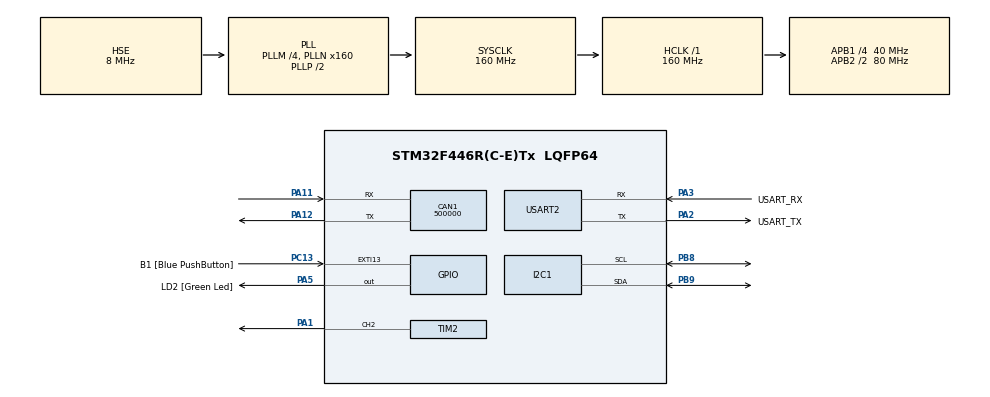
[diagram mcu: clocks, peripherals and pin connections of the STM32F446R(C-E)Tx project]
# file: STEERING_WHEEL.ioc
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CAN1.BS1=CAN_BS1_3TQ
CAN1.CalculateBaudRate=500000
CAN1.CalculateTimeBit=2000
CAN1.CalculateTimeQuantum=400.0
Mcu.Family=STM32F4
Mcu.Name=STM32F446R(C-E)Tx
Mcu.Package=LQFP64
NVIC.CAN1_RX0_IRQn=true\:0\:0\:false\:false\:true\:true\:true\:true
NVIC.CAN1_RX1_IRQn=true\:0\:0\:false\:false\:true\:true\:true\:true
NVIC.PriorityGroup=NVIC_PRIORITYGROUP_0
NVIC.TIM8_TRG_COM_TIM14_IRQn=true\:0\:0\:false\:false\:true\:true\:true\:true
NVIC.TIM8_UP_TIM13_IRQn=true\:0\:0\:false\:false\:true\:true\:true\:true
NVIC.USART2_IRQn=true\:0\:0\:false\:false\:true\:true\:true\:true
PA1.Signal=S_TIM2_CH2
PA11.Mode=CAN_Activate
PA11.Signal=CAN1_RX
PA12.Mode=CAN_Activate
PA12.Signal=CAN1_TX
PA13.GPIO_Label=TMS
PA13.Mode=Serial_Wire
PA13.Signal=SYS_JTMS-SWDIO
PA14.GPIO_Label=TCK
PA14.Mode=Serial_Wire
PA14.Signal=SYS_JTCK-SWCLK
PA2.GPIO_Label=USART_TX
PA2.Mode=Asynchronous
PA2.Signal=USART2_TX
PA3.GPIO_Label=USART_RX
PA3.Mode=Asynchronous
PA3.Signal=USART2_RX
PA5.GPIO_Label=LD2 [Green Led]
PA5.Signal=GPIO_Output
PB3.GPIO_Label=SWO
PB3.Signal=SYS_JTDO-SWO
PB8.Mode=I2C
PB8.Signal=I2C1_SCL
PB9.Mode=I2C
PB9.Signal=I2C1_SDA
PC13.GPIO_Label=B1 [Blue PushButton]
PC13.GPIO_ModeDefaultEXTI=GPIO_MODE_IT_FALLING
PC13.Signal=GPXTI13
PC14-OSC32_IN.Mode=LSE-External-Oscillator
PC14-OSC32_IN.Signal=RCC_OSC32_IN
PC15-OSC32_OUT.Mode=LSE-External-Oscillator
PC15-OSC32_OUT.Signal=RCC_OSC32_OUT
PH0-OSC_IN.Mode=HSE-External-Oscillator
PH0-OSC_IN.Signal=RCC_OSC_IN
PH1-OSC_OUT.Mode=HSE-External-Oscillator
PH1-OSC_OUT.Signal=RCC_OSC_OUT
ProjectManager.HeapSize=0x200
ProjectManager.StackSize=0x400
ProjectManager.TargetToolchain=STM32CubeIDE
RCC.48MHZClocksFreq_Value=84000000
RCC.AHBFreq_Value=160000000
RCC.APB1CLKDivider=RCC_HCLK_DIV4
RCC.APB1Freq_Value=40000000
RCC.APB1TimFreq_Value=80000000
RCC.APB2CLKDivider=RCC_HCLK_DIV2
RCC.APB2Freq_Value=80000000
RCC.APB2TimFreq_Value=160000000
RCC.CortexFreq_Value=160000000
RCC.FLatency-AdvancedSettings=FLASH_LATENCY_5
RCC.HCLKFreq_Value=160000000
RCC.HSE_VALUE=8000000
RCC.HSI_VALUE=16000000
RCC.PLLM=4
RCC.PLLN=160
RCC.PLLSourceVirtual=RCC_PLLSOURCE_HSE
RCC.SYSCLKFreq_VALUE=160000000
RCC.SYSCLKSource=RCC_SYSCLKSOURCE_PLLCLK
RCC.USBFreq_Value=160000000
RCC.VCOOutputFreq_Value=320000000
SH.S_TIM2_CH2.0=TIM2_CH2,PWM Generation2 CH2
TIM13.Period=10000-1
TIM13.Prescaler=8000-1
TIM14.AutoReloadPreload=TIM_AUTORELOAD_PRELOAD_DISABLE
TIM14.Period=15000-1
TIM14.Prescaler=8000-1
TIM2.AutoReloadPreload=TIM_AUTORELOAD_PRELOAD_DISABLE
TIM2.Channel-PWM\ Generation2\ CH2=TIM_CHANNEL_2
TIM2.Period=100-1
TIM2.Prescaler=160-1
TIM2.Pulse-PWM\ Generation2\ CH2=100
USART2.VirtualMode=VM_ASYNC
VP_TIM13_VS_ClockSourceINT.Mode=Enable_Timer
VP_TIM14_VS_ClockSourceINT.Mode=Enable_Timer
VP_TIM2_VS_ClockSourceINT.Mode=Internal
board=NUCLEO-F446RE

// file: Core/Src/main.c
/* USER CODE BEGIN Header */
/**
  ******************************************************************************
  * @file           : main.c
  * @brief          : Main program body
  ******************************************************************************
  * @attention
  *
  * Copyright (c) 2023 STMicroelectronics.
  * All rights reserved.
  *
  * This software is licensed under terms that can be found in the LICENSE file
  * in the root directory of this software component.
  * If no LICENSE file comes with this software, it is provided AS-IS.
  *
  ******************************************************************************
  */
/* USER CODE END Header */
#include "main.h"

/* USER CODE BEGIN Includes */
#include "stdio.h"
#include "stdbool.h"
#include <stdbool.h>
#include <stdlib.h>
#include "FEB_CAN.h"

/* USER CODE END Includes */

CAN_HandleTypeDef hcan1;

I2C_HandleTypeDef hi2c1;

TIM_HandleTypeDef htim2;
TIM_HandleTypeDef htim13;
TIM_HandleTypeDef htim14;

UART_HandleTypeDef huart2;

/* USER CODE BEGIN PV */

const uint8_t TPS_ADDR = 0b1000000 << 1;
// configuration register value
uint8_t CONFIG[2] = {0b01000001, 0b00100111}; // default settings
/*
 * Values needed to calibrate each of the TPS chips. This value gets passed
 * into the init function called in later
 */

// calibration register values
uint8_t MAIN_CAL[2] = {0b00000110, 0b10001110}; // Imax = 50A (change?)
// alert types
uint8_t UNDERV[2] = {0b00010000, 0b00000000};
uint8_t OVERPWR[2] = {0b00001000, 0b00000000};
// limits
uint8_t TPS_LIMIT[2] = {0b00000000, 0b00010110}; // = 22 (change?)
float current_reading;
float voltage_reading;

/* USER CODE END PV */

void SystemClock_Config(void);
static void MX_GPIO_Init(void);
static void MX_USART2_UART_Init(void);
static void MX_I2C1_Init(void);
static void MX_TIM14_Init(void);
static void MX_TIM2_Init(void);
static void MX_CAN1_Init(void);
static void MX_TIM13_Init(void);

/* USER CODE BEGIN 0 */
//static const uint8_t IOEXP1_ADDR = 0b0100000 << 1; // Use 8-bit address
static const uint8_t IOEXP2_ADDR = 0b0100001 << 1;
static const uint8_t VOLUME = 100; // volume of the buzzer (10%)
static bool Button_Checking = false;
static bool Button_Timer_Flag = false;

/* USER CODE END 0 */

int main(void)
{

  /* MCU Configuration--------------------------------------------------------*/

  /* Reset of all peripherals, Initializes the Flash interface and the Systick. */
  HAL_Init();

  /* Configure the system clock */
  SystemClock_Config();

  /* Initialize all configured peripherals */
  MX_GPIO_Init();
  MX_USART2_UART_Init();
  MX_I2C1_Init();
  MX_TIM14_Init();
  MX_TIM2_Init();
  MX_CAN1_Init();
  MX_TIM13_Init();
  /* USER CODE BEGIN 2 */

  bool ready_to_drive = false;
  bool last_button_state = false;
  bool lock = false;

  bool lastButton_4 = 0; // coolant pump
  bool lastButton_5 = 0; // acumulator fans
  bool lastButton_6 = 0; // extra
  bool lock_4 = 0;
  bool lock_5 = 0;
  bool lock_6 = 0;
  bool coolant_pump = 0;
  bool accumulator_fans = 0;
  bool extra = 0;

  char buf[128];
  int buf_len;
  //uint8_t data1;
  uint8_t data2;
  HAL_StatusTypeDef ret;

  HAL_TIM_Base_Start_IT(&htim13);
  HAL_TIM_Base_Stop_IT(&htim13);
  HAL_TIM_Base_Start_IT(&htim14);
  HAL_TIM_Base_Stop_IT(&htim14);
  Button_Checking = false;
  Button_Timer_Flag = false;
  // 0% PWM cycle to turnoff buzzer
  htim2.Instance->CCR2 = 0;
  HAL_TIM_PWM_Start(&htim2, TIM_CHANNEL_2);

  FEB_CAN_Init(&hcan1, SW_ID);

  /* USER CODE END 2 */

  /* Infinite loop */
  /* USER CODE BEGIN WHILE */
  while (1)
  {
	  HAL_Delay(10);

	  // read both IOexpanders
//	  ret = HAL_I2C_Master_Receive(&hi2c1, IOEXP1_ADDR, &data1, 1, HAL_MAX_DELAY);
//	  if ( ret != HAL_OK ) {
//		  buf_len = sprintf((char*)buf, "IO_1 Error\r\n");
//	  }
	  ret = HAL_I2C_Master_Receive(&hi2c1, IOEXP2_ADDR, &data2, 1, HAL_MAX_DELAY);
	  if ( ret != HAL_OK ) {
		  buf_len = sprintf((char*)buf, "IO_2 Error\r\n");
	  }

	  // check the read values
//	  if (data1 == 0xFF && data2 == 0xFF) {
//		  buf_len = sprintf((char*)buf, "NO BUT\r\n");
//	  }
//	  if (!(data1 & (1<<1))) { // BUT_0 -> IO1 P1
//		  buf_len = sprintf((char*)buf, "BUT_0\r\n");
//	  }
//	  if (!(data1 & (1<<0))) { // BUT_1 -> IO1 P0
//		  buf_len = sprintf((char*)buf, "BUT_1\r\n");
//	  }
//	  if (!(data2 & (1<<7))) { // BUT_2 -> IO2 P7
//		  buf_len = sprintf((char*)buf, "BUT_2\r\n");
//	  }
//	  if (!(data2 & (1<<0))) { // BUT_3 -> IO2 P0
//		  buf_len = sprintf((char*)buf, "BUT_3\r\n");
//		  // Start timer
//		  HAL_TIM_Base_Start_IT(&htim14);
//		  // turn on buzzer with 30% PWM cycle
//		  htim2.Instance->CCR2 = VOLUME;
//	  }

	  if (!(data2 & (1<<1))) { // BUT_4 -> IO2 P1, coolant pump
		  if (!lastButton_4) {
			  lock_4 = true;
			  coolant_pump = !coolant_pump;
			  FEB_CAN_Transmit(&hcan1, SW_COOLANT_PUMP, (uint8_t *) &coolant_pump, 1);
		  }
		  lastButton_4 = true;
	  } else {
		  if (lastButton_4) {
			  lock_4 = false;
		  }
		  lastButton_4 = false;
	  }

	  if (!(data2 & (1<<2))) { // BUT_5 -> IO2 P2, accumulator fans
		  if (!lastButton_5) {
			  lock_5 = true;
			  accumulator_fans = !accumulator_fans;
			  FEB_CAN_Transmit(&hcan1, SW_ACUMULATOR_FANS, (uint8_t *) &accumulator_fans, 1);
		  }
		  lastButton_5 = true;
	  } else {
		  if (lastButton_5) {
			  lock_5 = false;
		  }
		  lastButton_5 = false;
	  }

	  if (!(data2 & (1<<3))) { // BUT_6 -> IO2 P3, extra
		  if (!lastButton_6) {
			  lock_6 = true;
			  extra = !extra;
			  FEB_CAN_Transmit(&hcan1, SW_EXTRA, (uint8_t *) &extra, 1);
		  }
		  lastButton_6 = true;
	  } else {
		  if (lastButton_6) {
			  lock_6 = false;
		  }
		  lastButton_6 = false;
	  }

	  if (!(data2 & (1<<0))) { // BUT_3 -> IO2 P0, ready to drive
//		  buf_len = sprintf((char*)buf, "BUT_3\r\n");
//		  HAL_UART_Transmit(&huart2, (uint8_t *)buf, buf_len, HAL_MAX_DELAY);

		  // if the system is not checking a button, start the timer to check the timer
		  // also check if brake is pressed and Tractive System is on
		  if (!Button_Checking && (last_button_state == false) && !lock && APPS_MESSAGE.brake_pedal > 0.2 && HV_Voltage > 60.0) {
			  // Start timer to count 1 sec hold time
			  HAL_TIM_Base_Start_IT(&htim13);
			  Button_Checking = true;

//			  buf_len = sprintf((char*)buf, "starting timer 13\r\n");
//			  HAL_UART_Transmit(&huart2, (uint8_t *)buf, buf_len, HAL_MAX_DELAY);
		  }
		  // if 1 sec has elapsed, and this button is still pressed, it is a valid action
		  // turn on buzzer and send CAN msg, reset states
		  if (Button_Timer_Flag) {
			  ready_to_drive = !ready_to_drive;

			  // when the ready_to_drive state is just changed, lock from changing again
			  lock = true;

			  // start timer for buzzer
			  HAL_TIM_Base_Start_IT(&htim14);
			  // turn on buzzer at VOLUME
			  htim2.Instance->CCR2 = VOLUME;

			  FEB_CAN_Transmit(&hcan1, SW_READY_TO_DRIVE, (uint8_t *) &ready_to_drive, 1);

			  Button_Timer_Flag = false;

//			  buf_len = sprintf((char*)buf, "staring timer 14\r\n");
//			  HAL_UART_Transmit(&huart2, (uint8_t *)buf, buf_len, HAL_MAX_DELAY);
		  }

		  //record button state
		  last_button_state = true;

	  } else {
		  Button_Timer_Flag = false;

		  // allow ready_to_drive to change when button is released.
		  if (last_button_state) {
			  last_button_state = false;
			  lock = false;
		  }
	  }

	  // if at sometime Tractive System falls below 60V (not enough battery or E-Stop), disable ready_to_drive
	  if (HV_Voltage < 60.0 && ready_to_drive) {
		  ready_to_drive = false;
		  FEB_CAN_Transmit(&hcan1, SW_READY_TO_DRIVE, (uint8_t *) &ready_to_drive, 1);
	  }

	  // Take and send TPS reading
	  current_reading = FEB_TPS2482_PollBusCurrent(&hi2c1,TPS_ADDR+1);
	  //voltage_reading = FEB_TPS2482_PollBusVoltage(&hi2c1, TPS_ADDR+1);
	  FEB_CAN_Transmit(&hcan1,SW_TPS,&current_reading,sizeof(float));

//	  buf_len = sprintf((char*)buf, "check:%d flag:%d\r\n", Button_Checking, Button_Timer_Flag);
//	  HAL_UART_Transmit(&huart2, (uint8_t *)buf, buf_len, HAL_MAX_DELAY);
	  buf_len = sprintf((char*)buf, "ready:%d voltage:%.1f brake:%.1f current: %.3f\r\n", ready_to_drive, HV_Voltage, APPS_MESSAGE.brake_pedal, current_reading);
	  HAL_UART_Transmit(&huart2, (uint8_t *)buf, buf_len, 1000);

    /* USER CODE END WHILE */

  }
}

void SystemClock_Config(void)
{
  RCC_OscInitTypeDef RCC_OscInitStruct = {0};
  RCC_ClkInitTypeDef RCC_ClkInitStruct = {0};

  /** Configure the main internal regulator output voltage
  */
  __HAL_RCC_PWR_CLK_ENABLE();
  __HAL_PWR_VOLTAGESCALING_CONFIG(PWR_REGULATOR_VOLTAGE_SCALE1);

  /** Initializes the RCC Oscillators according to the specified parameters
  * in the RCC_OscInitTypeDef structure.
  */
  RCC_OscInitStruct.OscillatorType = RCC_OSCILLATORTYPE_HSE;
  RCC_OscInitStruct.HSEState = RCC_HSE_ON;
  RCC_OscInitStruct.PLL.PLLState = RCC_PLL_ON;
  RCC_OscInitStruct.PLL.PLLSource = RCC_PLLSOURCE_HSE;
  RCC_OscInitStruct.PLL.PLLM = 4;
  RCC_OscInitStruct.PLL.PLLN = 160;
  RCC_OscInitStruct.PLL.PLLP = RCC_PLLP_DIV2;
  RCC_OscInitStruct.PLL.PLLQ = 2;
  RCC_OscInitStruct.PLL.PLLR = 2;
  if (HAL_RCC_OscConfig(&RCC_OscInitStruct) != HAL_OK)
  {
    Error_Handler();
  }

  /** Initializes the CPU, AHB and APB buses clocks
  */
  RCC_ClkInitStruct.ClockType = RCC_CLOCKTYPE_HCLK|RCC_CLOCKTYPE_SYSCLK
                              |RCC_CLOCKTYPE_PCLK1|RCC_CLOCKTYPE_PCLK2;
  RCC_ClkInitStruct.SYSCLKSource = RCC_SYSCLKSOURCE_PLLCLK;
  RCC_ClkInitStruct.AHBCLKDivider = RCC_SYSCLK_DIV1;
  RCC_ClkInitStruct.APB1CLKDivider = RCC_HCLK_DIV4;
  RCC_ClkInitStruct.APB2CLKDivider = RCC_HCLK_DIV2;

  if (HAL_RCC_ClockConfig(&RCC_ClkInitStruct, FLASH_LATENCY_5) != HAL_OK)
  {
    Error_Handler();
  }
}

static void MX_CAN1_Init(void)
{

  hcan1.Instance = CAN1;
  hcan1.Init.Prescaler = 16;
  hcan1.Init.Mode = CAN_MODE_NORMAL;
  hcan1.Init.SyncJumpWidth = CAN_SJW_1TQ;
  hcan1.Init.TimeSeg1 = CAN_BS1_3TQ;
  hcan1.Init.TimeSeg2 = CAN_BS2_1TQ;
  hcan1.Init.TimeTriggeredMode = DISABLE;
  hcan1.Init.AutoBusOff = DISABLE;
  hcan1.Init.AutoWakeUp = DISABLE;
  hcan1.Init.AutoRetransmission = DISABLE;
  hcan1.Init.ReceiveFifoLocked = DISABLE;
  hcan1.Init.TransmitFifoPriority = DISABLE;
  if (HAL_CAN_Init(&hcan1) != HAL_OK)
  {
    Error_Handler();
  }

}

static void MX_I2C1_Init(void)
{

  hi2c1.Instance = I2C1;
  hi2c1.Init.ClockSpeed = 100000;
  hi2c1.Init.DutyCycle = I2C_DUTYCYCLE_2;
  hi2c1.Init.OwnAddress1 = 0;
  hi2c1.Init.AddressingMode = I2C_ADDRESSINGMODE_7BIT;
  hi2c1.Init.DualAddressMode = I2C_DUALADDRESS_DISABLE;
  hi2c1.Init.OwnAddress2 = 0;
  hi2c1.Init.GeneralCallMode = I2C_GENERALCALL_DISABLE;
  hi2c1.Init.NoStretchMode = I2C_NOSTRETCH_DISABLE;
  if (HAL_I2C_Init(&hi2c1) != HAL_OK)
  {
    Error_Handler();
  }

}

static void MX_TIM2_Init(void)
{

  TIM_ClockConfigTypeDef sClockSourceConfig = {0};
  TIM_MasterConfigTypeDef sMasterConfig = {0};
  TIM_OC_InitTypeDef sConfigOC = {0};

  htim2.Instance = TIM2;
  htim2.Init.Prescaler = 160-1;
  htim2.Init.CounterMode = TIM_COUNTERMODE_UP;
  htim2.Init.Period = 100-1;
  htim2.Init.ClockDivision = TIM_CLOCKDIVISION_DIV1;
  htim2.Init.AutoReloadPreload = TIM_AUTORELOAD_PRELOAD_DISABLE;
  if (HAL_TIM_Base_Init(&htim2) != HAL_OK)
  {
    Error_Handler();
  }
  sClockSourceConfig.ClockSource = TIM_CLOCKSOURCE_INTERNAL;
  if (HAL_TIM_ConfigClockSource(&htim2, &sClockSourceConfig) != HAL_OK)
  {
    Error_Handler();
  }
  if (HAL_TIM_PWM_Init(&htim2) != HAL_OK)
  {
    Error_Handler();
  }
  sMasterConfig.MasterOutputTrigger = TIM_TRGO_RESET;
  sMasterConfig.MasterSlaveMode = TIM_MASTERSLAVEMODE_DISABLE;
  if (HAL_TIMEx_MasterConfigSynchronization(&htim2, &sMasterConfig) != HAL_OK)
  {
    Error_Handler();
  }
  sConfigOC.OCMode = TIM_OCMODE_PWM1;
  sConfigOC.Pulse = 100;
  sConfigOC.OCPolarity = TIM_OCPOLARITY_HIGH;
  sConfigOC.OCFastMode = TIM_OCFAST_DISABLE;
  if (HAL_TIM_PWM_ConfigChannel(&htim2, &sConfigOC, TIM_CHANNEL_2) != HAL_OK)
  {
    Error_Handler();
  }
  HAL_TIM_MspPostInit(&htim2);

}

static void MX_TIM13_Init(void)
{

  htim13.Instance = TIM13;
  htim13.Init.Prescaler = 8000-1;
  htim13.Init.CounterMode = TIM_COUNTERMODE_UP;
  htim13.Init.Period = 10000-1;
  htim13.Init.ClockDivision = TIM_CLOCKDIVISION_DIV1;
  htim13.Init.AutoReloadPreload = TIM_AUTORELOAD_PRELOAD_DISABLE;
  if (HAL_TIM_Base_Init(&htim13) != HAL_OK)
  {
    Error_Handler();
  }

}

static void MX_TIM14_Init(void)
{

  htim14.Instance = TIM14;
  htim14.Init.Prescaler = 8000-1;
  htim14.Init.CounterMode = TIM_COUNTERMODE_UP;
  htim14.Init.Period = 15000-1;
  htim14.Init.ClockDivision = TIM_CLOCKDIVISION_DIV1;
  htim14.Init.AutoReloadPreload = TIM_AUTORELOAD_PRELOAD_DISABLE;
  if (HAL_TIM_Base_Init(&htim14) != HAL_OK)
  {
    Error_Handler();
  }

}

static void MX_USART2_UART_Init(void)
{

  huart2.Instance = USART2;
  huart2.Init.BaudRate = 115200;
  huart2.Init.WordLength = UART_WORDLENGTH_8B;
  huart2.Init.StopBits = UART_STOPBITS_1;
  huart2.Init.Parity = UART_PARITY_NONE;
  huart2.Init.Mode = UART_MODE_TX_RX;
  huart2.Init.HwFlowCtl = UART_HWCONTROL_NONE;
  huart2.Init.OverSampling = UART_OVERSAMPLING_16;
  if (HAL_UART_Init(&huart2) != HAL_OK)
  {
    Error_Handler();
  }

}

static void MX_GPIO_Init(void)
{
  GPIO_InitTypeDef GPIO_InitStruct = {0};

  /* GPIO Ports Clock Enable */
  __HAL_RCC_GPIOC_CLK_ENABLE();
  __HAL_RCC_GPIOH_CLK_ENABLE();
  __HAL_RCC_GPIOA_CLK_ENABLE();
  __HAL_RCC_GPIOB_CLK_ENABLE();

  /*Configure GPIO pin Output Level */
  HAL_GPIO_WritePin(LD2_GPIO_Port, LD2_Pin, GPIO_PIN_RESET);

  /*Configure GPIO pin : B1_Pin */
  GPIO_InitStruct.Pin = B1_Pin;
  GPIO_InitStruct.Mode = GPIO_MODE_IT_FALLING;
  GPIO_InitStruct.Pull = GPIO_NOPULL;
  HAL_GPIO_Init(B1_GPIO_Port, &GPIO_InitStruct);

  /*Configure GPIO pin : LD2_Pin */
  GPIO_InitStruct.Pin = LD2_Pin;
  GPIO_InitStruct.Mode = GPIO_MODE_OUTPUT_PP;
  GPIO_InitStruct.Pull = GPIO_NOPULL;
  GPIO_InitStruct.Speed = GPIO_SPEED_FREQ_LOW;
  HAL_GPIO_Init(LD2_GPIO_Port, &GPIO_InitStruct);

}

/* USER CODE BEGIN 4 */
// Callback: timer has rolled over
void HAL_TIM_PeriodElapsedCallback(TIM_HandleTypeDef *htim)
{
//	char buf[10];
//	int buf_len;

	// timer for button
	// if 1 sec has passed since the first detection of button pressed, go back to not checking state
	if (htim == &htim13) {
	  Button_Checking = false;
	  Button_Timer_Flag = true;
	  HAL_TIM_Base_Stop_IT(&htim13);

//	  buf_len = sprintf((char*)buf, "Timer13\r\n");
//	  HAL_UART_Transmit(&huart2, (uint8_t *)buf, buf_len, HAL_MAX_DELAY);
	}

	// timer for buzzer
	if (htim == &htim14)
	{
	  // turn off buzzer
	  htim2.Instance->CCR2 = 0;
	  // Stop timer
	  HAL_TIM_Base_Stop_IT(&htim14);

//	  buf_len = sprintf((char*)buf, "Timer14\r\n");
//	  HAL_UART_Transmit(&huart2, (uint8_t *)buf, buf_len, HAL_MAX_DELAY);
	}
}

/* USER CODE END 4 */

void Error_Handler(void)
{
  __disable_irq();
  while (1)
  {
  }
}
